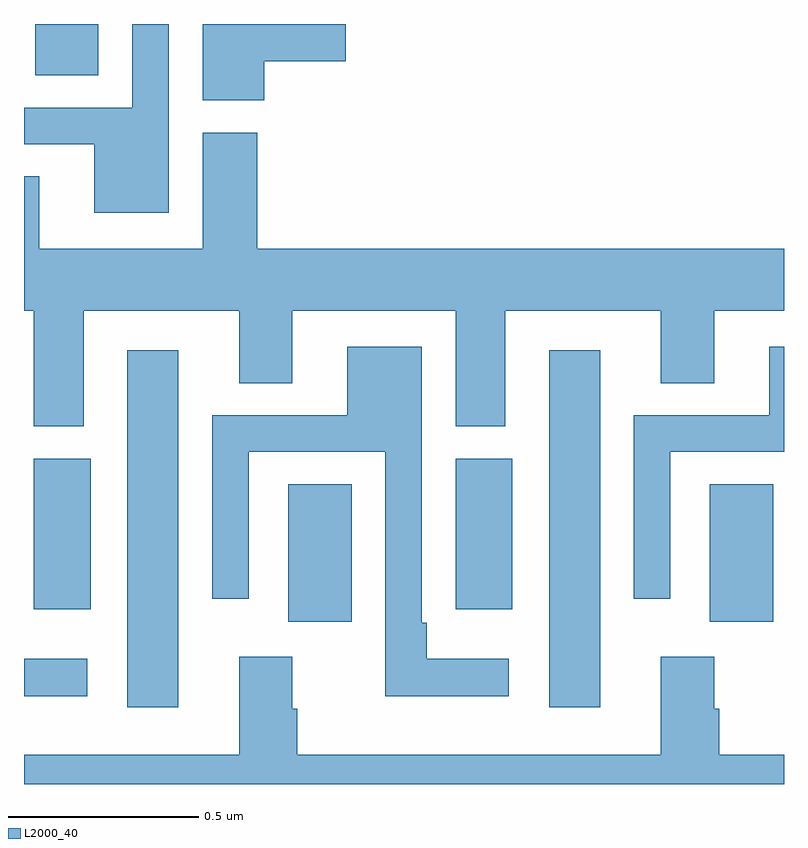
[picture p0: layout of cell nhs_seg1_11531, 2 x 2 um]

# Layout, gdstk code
import gdstk
lib = gdstk.Library(unit=1e-6, precision=1e-09)
def R(c, l, rs):  # rectangles x0, y0, x1, y1
    for r in rs: c.add(gdstk.rectangle(r[:2], r[2:], *l))
def P(c, l, *ps):  # polygons
    for p in ps: c.add(gdstk.Polygon(p, *l))
L2000_40 = (2000, 40)

nhs_seg1_11531 = lib.new_cell('nhs_seg1_11531')
R(nhs_seg1_11531, L2000_40, [(255.272,505.401,255.406,506.341), (256.382,505.401,256.516,506.341), (255,505.43,255.166,505.528), (255.695,505.626,255.862,505.988), (256.805,505.626,256.972,505.988), (255.026,505.659,255.175,506.055), (256.136,505.659,256.285,506.055), (255.029,507.064,255.196,507.199)])
P(nhs_seg1_11531, L2000_40, [(255.632,507.101),(255.847,507.101),(255.847,507.199),(255.47,507.199),(255.47,506.998),(255.632,506.998)],
  [(255.381,507.199),(255.285,507.199),(255.285,506.979),(255,506.979),(255,506.883),(255.185,506.883),(255.185,506.702),(255.381,506.702)],
  [(255.614,506.913),(255.47,506.913),(255.47,506.608),(255.04,506.608),(255.04,506.798),(255,506.798),(255,506.444),(255.026,506.444),(255.026,506.14),(255.157,506.14),(255.157,506.444),(255.566,506.444),(255.566,506.254),(255.706,506.254),(255.706,506.444),(256.136,506.444),(256.136,506.14),(256.267,506.14),(256.267,506.444),(256.676,506.444),(256.676,506.254),(256.816,506.254),(256.816,506.444),(257,506.444),(257,506.608),(255.614,506.608)],
  [(256.276,505.528),(256.06,505.528),(256.06,505.624),(256.047,505.624),(256.047,506.35),(255.851,506.35),(255.851,506.169),(255.495,506.169),(255.495,505.686),(255.591,505.686),(255.591,506.073),(255.951,506.073),(255.951,505.43),(256.276,505.43)],
  [(256.701,506.073),(257,506.073),(257,506.35),(256.961,506.35),(256.961,506.169),(256.605,506.169),(256.605,505.686),(256.701,505.686)],
  [(257,505.276),(256.829,505.276),(256.829,505.397),(256.816,505.397),(256.816,505.534),(256.676,505.534),(256.676,505.276),(255.719,505.276),(255.719,505.397),(255.706,505.397),(255.706,505.534),(255.566,505.534),(255.566,505.276),(255,505.276),(255,505.199),(257,505.199)])

lib.write_gds('nhs_seg1_11531.gds')
